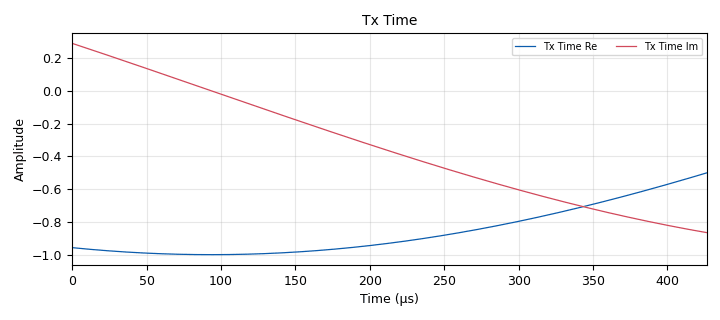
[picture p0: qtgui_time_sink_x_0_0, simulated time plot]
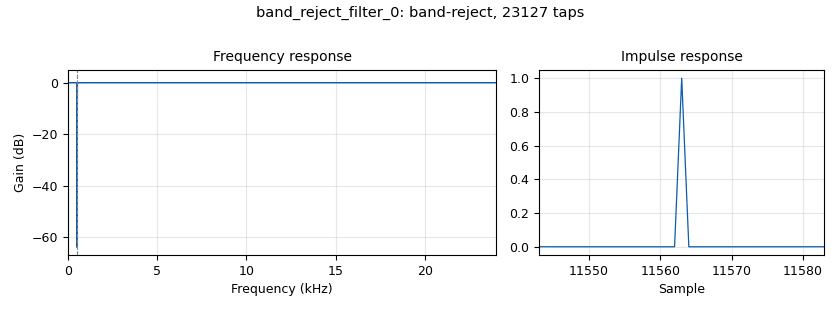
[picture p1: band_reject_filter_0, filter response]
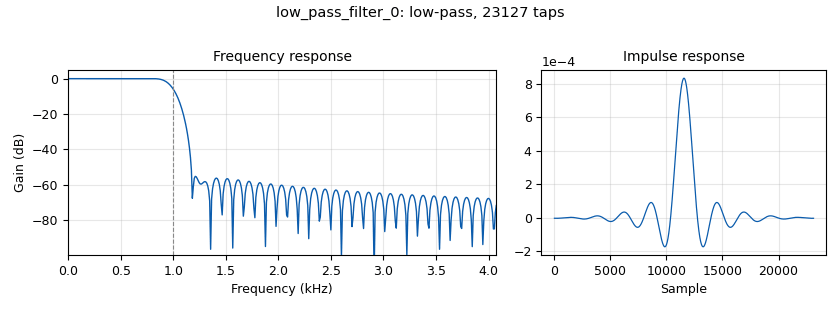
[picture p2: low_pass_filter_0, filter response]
options:
  parameters:
    author: '"mzemlo.pl@gmail.com"'
    comment: |-
      Original stream on https://www.youtube.com/watch?v=ODU-PvH1_Hg
      Documentation on https://gallicchio.github.io/learnSDR/lesson08b.html
      Code on https://github.com/gallicchio/learnSDR/blob/main/lesson08b_Pluto_Doppler_RADAR.grc
    copyright: '"mzemlo.pl@gmail.com"'
    description: https://www.youtube.com/watch?v=ODU-PvH1_Hg
    generate_options: qt_gui
    id: Pluto_Doppler_Radar
    output_language: python
    title: '"Pluto_Doppler_Radar"'
  states: {}

blocks:
- name: audio_gain
  id: variable_qtgui_range
  parameters:
    label: '"audio_gain"'
    start: '0'
    step: '1'
    stop: '100'
    value: '1'
  states: {}
- name: f
  id: variable
  parameters:
    value: '3500000000'
  states: {}
- name: rx_gain
  id: variable_qtgui_range
  parameters:
    label: '"rx_gain"'
    start: '0'
    step: '1'
    stop: '70'
    value: '64'
  states: {}
- name: samp_rate
  id: variable
  parameters:
    value: 2.4e6
  states: {}
- name: tone_f
  id: variable_qtgui_range
  parameters:
    start: '-2e3'
    step: '100'
    stop: 2e3
    value: '500'
  states: {}
- name: tx_attenuation
  id: variable_qtgui_range
  parameters:
    start: '0'
    step: '1'
    stop: '100'
    value: '40'
  states: {}
- name: analog_sig_source_x_0
  id: analog_sig_source_x
  parameters:
    amp: '1'
    freq: tone_f
    offset: '0'
    phase: '0'
    samp_rate: samp_rate
    type: complex
    waveform: analog.GR_COS_WAVE
  states: {}
- name: audio_sink_0
  id: audio_sink
  parameters:
    samp_rate: '48000'
  states: {}
- name: band_reject_filter_0
  id: band_reject_filter
  parameters:
    decim: '1'
    gain: '1'
    high_cutoff_freq: '505'
    low_cutoff_freq: '495'
    samp_rate: samp_rate/50
    type: fir_filter_ccf
    width: '5'
    win: window.WIN_HAMMING
  states: {}
- name: blocks_complex_to_real_0
  id: blocks_complex_to_real
  parameters: {}
  states: {}
- name: blocks_multiply_const_vxx_0
  id: blocks_multiply_const_vxx
  parameters:
    const: audio_gain
    type: complex
  states: {}
- name: iio_pluto_sink_0
  id: iio_pluto_sink
  parameters:
    attenuation1: tx_attenuation
    bandwidth: '20000000'
    buffer_size: '32768'
    cyclic: 'False'
    filter_source: '''Auto'''
    frequency: int(f)
    samplerate: int(samp_rate)
    type: fc32
    uri: '"ip:192.168.2.1"'
  states: {}
- name: iio_pluto_source_0
  id: iio_pluto_source
  parameters:
    bandwidth: '20000000'
    bbdc: 'True'
    buffer_size: '32768'
    filter_source: '''Auto'''
    frequency: int(f)
    gain1: '''manual'''
    manual_gain1: rx_gain
    quadrature: 'True'
    rfdc: 'True'
    samplerate: int(samp_rate)
    type: fc32
    uri: '"ip:192.168.2.1"'
  states: {}
- name: low_pass_filter_0
  id: low_pass_filter
  parameters:
    cutoff_freq: tone_f*2
    decim: '50'
    gain: '1'
    samp_rate: samp_rate
    type: fir_filter_ccf
    width: '250'
    win: window.WIN_HAMMING
  states: {}
- name: qtgui_freq_sink_x_0
  id: qtgui_freq_sink_x
  parameters:
    autoscale: 'True'
    bw: samp_rate
    fc: '0'
    fftsize: '8192'
    label1: Rx Freq
    name: '"Rx Freq"'
    type: complex
  states: {}
- name: qtgui_freq_sink_x_0_0
  id: qtgui_freq_sink_x
  parameters:
    autoscale: 'True'
    bw: samp_rate/50
    fc: '0'
    fftsize: '8192'
    label1: LPF Rx Freq
    name: '"LPF Rx Freq"'
    type: complex
  states: {}
- name: qtgui_freq_sink_x_0_0_0
  id: qtgui_freq_sink_x
  parameters:
    autoscale: 'True'
    bw: samp_rate/50
    fc: '0'
    fftsize: '8192'
    label1: LPF BR Rx Freq
    name: '"LPF BR Rx Freq"'
    type: complex
  states: {}
- name: qtgui_time_sink_x_0
  id: qtgui_time_sink_x
  parameters:
    autoscale: 'True'
    label1: Rx Time Re
    label2: Rx Time Im
    name: '"RX Time"'
    size: 1024*8
    srate: samp_rate
    type: complex
  states: {}
- name: qtgui_time_sink_x_0_0
  id: qtgui_time_sink_x
  parameters:
    autoscale: 'True'
    label1: Tx Time Re
    label2: Tx Time Im
    name: '"Tx Time"'
    size: '1024'
    srate: samp_rate
    type: complex
  states: {}
- name: qtgui_time_sink_x_0_1
  id: qtgui_time_sink_x
  parameters:
    autoscale: 'True'
    label1: LPF Rx Time Re
    label2: LPF Rx Time Im
    name: '"LPF RX Time"'
    size: 1024*8
    srate: samp_rate/50
    type: complex
  states: {}
- name: qtgui_time_sink_x_0_1_0
  id: qtgui_time_sink_x
  parameters:
    autoscale: 'True'
    label1: LPF BR Rx Time Re
    label2: LPF BR Rx Time Im
    name: '"LPF BR RX Time"'
    size: 1024*8
    srate: samp_rate/50
    type: complex
  states: {}

connections:
- [analog_sig_source_x_0, '0', iio_pluto_sink_0, '0']
- [analog_sig_source_x_0, '0', qtgui_time_sink_x_0_0, '0']
- [band_reject_filter_0, '0', blocks_multiply_const_vxx_0, '0']
- [blocks_complex_to_real_0, '0', audio_sink_0, '0']
- [blocks_multiply_const_vxx_0, '0', blocks_complex_to_real_0, '0']
- [blocks_multiply_const_vxx_0, '0', qtgui_freq_sink_x_0_0_0, '0']
- [blocks_multiply_const_vxx_0, '0', qtgui_time_sink_x_0_1_0, '0']
- [iio_pluto_source_0, '0', low_pass_filter_0, '0']
- [iio_pluto_source_0, '0', qtgui_freq_sink_x_0, '0']
- [iio_pluto_source_0, '0', qtgui_time_sink_x_0, '0']
- [low_pass_filter_0, '0', band_reject_filter_0, '0']
- [low_pass_filter_0, '0', qtgui_freq_sink_x_0_0, '0']
- [low_pass_filter_0, '0', qtgui_time_sink_x_0_1, '0']

metadata:
  file_format: 1
  grc_version: 3.10.9.2
